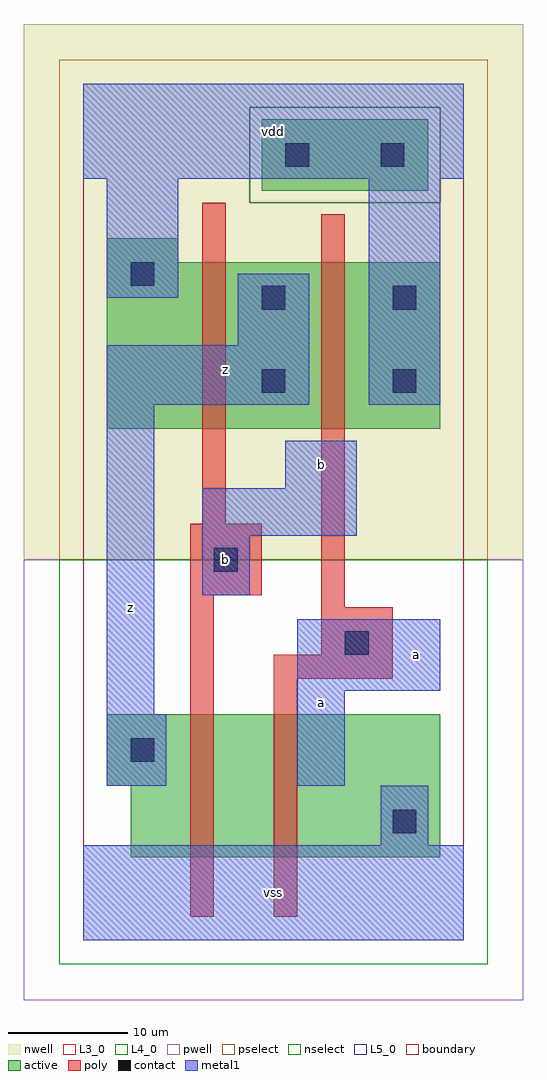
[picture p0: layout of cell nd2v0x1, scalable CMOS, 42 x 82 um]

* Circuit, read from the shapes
.subckt nd2v0x1 a b vdd vss z
M1 n1 b z VSUBS nfet w=12u l=2u
M2 vss a n1 VSUBS nfet w=12u l=2u
M3 z b vdd vdd pfet w=14u l=2u
M4 vdd a z vdd pfet w=14u l=2u
.ends

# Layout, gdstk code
import gdstk
lib = gdstk.Library(unit=1e-6, precision=1e-09)
def R(c, l, rs):  # rectangles x0, y0, x1, y1
    for r in rs: c.add(gdstk.rectangle(r[:2], r[2:], *l))
L3_0 = (3, 0)
L4_0 = (4, 0)
L5_0 = (5, 0)
contact = (25, 0)
pwell = (41, 0)
nwell = (42, 0)
active = (43, 0)
pselect = (44, 0)
nselect = (45, 0)
poly = (46, 0)
metal1 = (49, 0)
boundary = (63, 0)

nd2v0x1 = lib.new_cell('nd2v0x1')
R(nd2v0x1, L3_0, [(4,7,30,13), (2,13,30,19)])
R(nd2v0x1, L4_0, [(2,43,30,57), (2,57,8,59)])
R(nd2v0x1, L5_0, [(15,63,29,69)])
R(nd2v0x1, contact, [(26,9,28,11), (4,15,6,17), (22,24,24,26), (11,31,13,33), (15,46,17,48), (26,46,28,48), (15,53,17,55), (26,53,28,55), (4,55,6,57), (17,65,19,67), (25,65,27,67)])
R(nd2v0x1, pwell, [(-5,-5,37,32)])
R(nd2v0x1, nwell, [(-5,32,37,77)])
R(nd2v0x1, active, [(4,7,30,13), (2,13,30,19), (2,43,30,57), (2,57,8,59), (15,63,29,69)])
R(nd2v0x1, pselect, [(-2,32,34,62), (-2,62,14,70), (30,62,34,70), (-2,70,34,74)])
R(nd2v0x1, nselect, [(-2,-2,34,32), (14,62,30,70)])
R(nd2v0x1, poly, [(9,2,11,29), (16,2,18,22), (16,22,26,24), (20,24,26,28), (20,28,22,61), (9,29,15,35), (10,35,12,62)])
R(nd2v0x1, metal1, [(0,0,32,8), (25,8,29,13), (2,13,7,19), (18,13,22,21), (2,19,6,45), (18,21,30,27), (10,29,14,34), (10,34,23,38), (17,38,23,42), (2,45,19,50), (24,45,30,64), (13,50,19,56), (2,54,8,64), (0,64,32,72)])
R(nd2v0x1, boundary, [(0,0,32,72)])
nd2v0x1.add(gdstk.Label('z', (4,28), layer=49, texttype=0))
nd2v0x1.add(gdstk.Label('b', (12,32), layer=49, texttype=0))
nd2v0x1.add(gdstk.Label('z', (12,48), layer=49, texttype=0))
nd2v0x1.add(gdstk.Label('vss', (16,4), layer=49, texttype=0))
nd2v0x1.add(gdstk.Label('a', (20,20), layer=49, texttype=0))
nd2v0x1.add(gdstk.Label('b', (20,40), layer=49, texttype=0))
nd2v0x1.add(gdstk.Label('vdd', (16,68), layer=49, texttype=0))
nd2v0x1.add(gdstk.Label('a', (28,24), layer=49, texttype=0))

lib.write_gds('nd2v0x1.gds')
